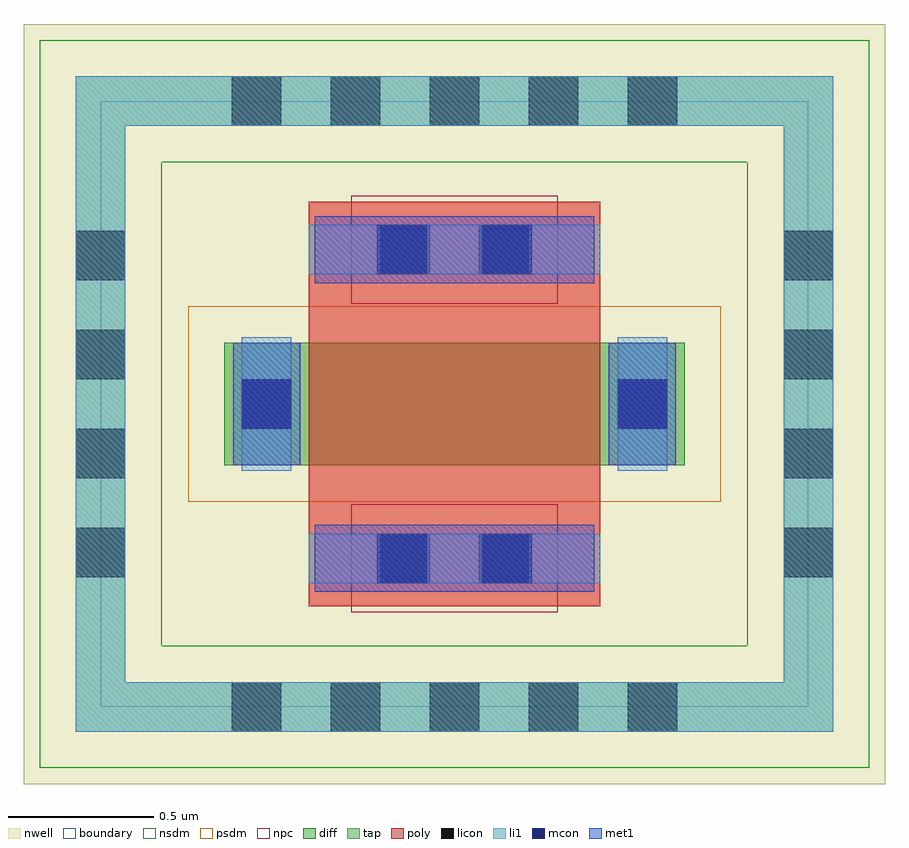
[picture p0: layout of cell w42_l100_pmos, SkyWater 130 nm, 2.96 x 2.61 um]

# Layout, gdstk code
import gdstk
lib = gdstk.Library(unit=1e-6, precision=1e-09)
def R(c, l, rs):  # rectangles x0, y0, x1, y1
    for r in rs: c.add(gdstk.rectangle(r[:2], r[2:], *l))
def A(c, l, x, y, w, h, nx, ny, dx, dy):  # array of equal rectangles
    R(c, l, [(x+i*dx, y+j*dy, x+i*dx+w, y+j*dy+h) for i in range(nx) for j in range(ny)])
nwell = (64, 20)
diff = (65, 20)
tap = (65, 44)
poly = (66, 20)
licon = (66, 44)
li1 = (67, 20)
mcon = (67, 44)
met1 = (68, 20)
nsdm = (93, 44)
psdm = (94, 20)
npc = (95, 20)
boundary = (235, 4)

sky130_fd_pr__pfet_01v8 = lib.new_cell('sky130_fd_pr__pfet_01v8')

w42_l100_pmos = lib.new_cell('w42_l100_pmos')
R(w42_l100_pmos, nwell, [(-1.48,-1.305,1.48,1.305)])
R(w42_l100_pmos, diff, [(-0.79,-0.21,0.79,0.21)])
R(w42_l100_pmos, tap, [(-1.3,-1.125,1.3,-0.955), (-1.3,-0.955,-1.13,0.955), (1.13,-0.955,1.3,0.955), (-1.3,0.955,1.3,1.125)])
R(w42_l100_pmos, poly, [(-0.5,-0.695,0.5,0.695)])
A(w42_l100_pmos, licon, -0.765, -1.125, 0.17, 0.17, 5, 2, 0.34, 2.08)
A(w42_l100_pmos, licon, -1.3, -0.595, 0.17, 0.17, 1, 4, 0, 0.34)
A(w42_l100_pmos, licon, 1.13, -0.595, 0.17, 0.17, 1, 4, 0, 0.34)
R(w42_l100_pmos, licon, [(-0.255,-0.615,-0.085,-0.445), (0.085,-0.615,0.255,-0.445), (-0.73,-0.085,-0.56,0.085), (0.56,-0.085,0.73,0.085), (-0.255,0.445,-0.085,0.615), (0.085,0.445,0.255,0.615)])
R(w42_l100_pmos, li1, [(-1.3,-1.125,1.3,-0.955), (-1.3,-0.955,-1.13,0.955), (1.13,-0.955,1.3,0.955), (-0.5,-0.615,0.5,-0.445), (-0.73,-0.23,-0.56,0.23), (0.56,-0.23,0.73,0.23), (-0.5,0.445,0.5,0.615), (-1.3,0.955,1.3,1.125)])
R(w42_l100_pmos, mcon, [(-0.265,-0.615,-0.095,-0.445), (0.095,-0.615,0.265,-0.445), (-0.73,-0.085,-0.56,0.085), (0.56,-0.085,0.73,0.085), (-0.265,0.445,-0.095,0.615), (0.095,0.445,0.265,0.615)])
R(w42_l100_pmos, met1, [(-0.48,-0.645,0.48,-0.415), (-0.76,-0.21,-0.53,0.21), (0.53,-0.21,0.76,0.21), (-0.48,0.415,0.48,0.645)])
R(w42_l100_pmos, nsdm, [(-1.425,-1.25,1.425,-0.83), (-1.425,-0.83,-1.005,0.83), (1.005,-0.83,1.425,0.83), (-1.425,0.83,1.425,1.25)])
R(w42_l100_pmos, psdm, [(-0.915,-0.335,0.915,0.335)])
R(w42_l100_pmos, npc, [(-0.355,-0.715,0.355,-0.345), (-0.355,0.345,0.355,0.715)])
R(w42_l100_pmos, boundary, [(-1.215,-1.04,1.215,1.04)])
w42_l100_pmos.add(gdstk.Reference(sky130_fd_pr__pfet_01v8, (0,0)))

lib.write_gds('w42_l100_pmos.gds')
